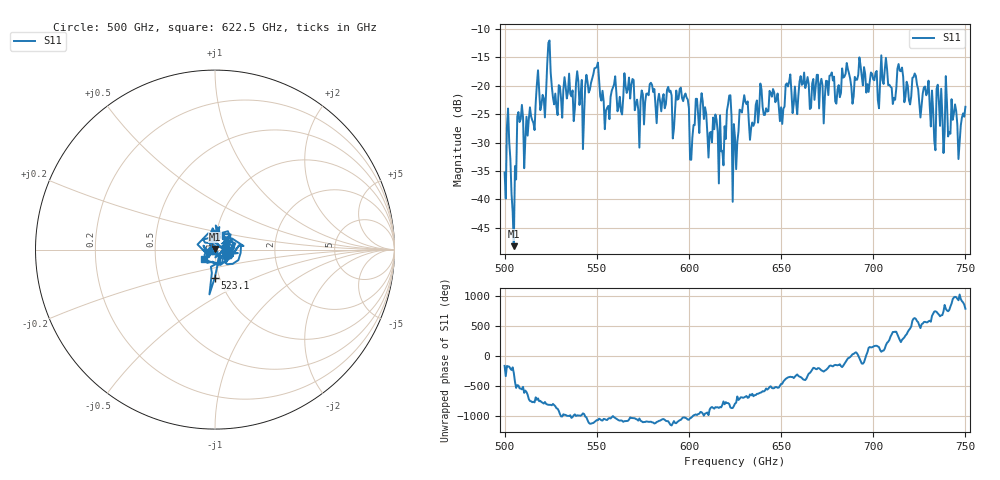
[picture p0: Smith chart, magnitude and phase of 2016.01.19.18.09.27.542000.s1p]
!Created with skrf (http://scikit-rf.org).
# GHz S RI R 50.0
!freq ReS11 ImS11
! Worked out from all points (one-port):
!   401 points, 500 GHz to 750 GHz, reference 50 ohm
!   lowest |S11| = -48.2 dB at 505 GHz (marker M1), VSWR 1.01, Z = 50.1 + j0.371 ohm
!   |S11| at or under -10 dB: start of sweep to end of sweep
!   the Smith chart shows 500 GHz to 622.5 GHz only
!   S11 on the Smith chart (normalised r, x): 500 GHz: 0.97, -0.01; 523.1 GHz: 0.95, -0.31; 622.5 GHz: 0.88, -0.09
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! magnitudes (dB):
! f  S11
! 500 GHz  -35.3
! 502.5 GHz  -29.9
! 505 GHz  -48.2
! 508.1 GHz  -26.4
! 511.9 GHz  -25.4
! 523.1 GHz  -16.1
! 531.2 GHz  -25.6
! 541.9 GHz  -19.0
! 549.4 GHz  -16.8
! 555.6 GHz  -23.9
! 559.4 GHz  -19.8
! 562.5 GHz  -21.9
! 593.8 GHz  -22.4
! 598.8 GHz  -22.1
! 601.9 GHz  -29.1
! 607.5 GHz  -22.7
! 617.5 GHz  -31.5
! 622.5 GHz  -21.7
! 625 GHz  -29.1
! 630.6 GHz  -22.8
! 634.4 GHz  -26.5
! 656.2 GHz  -24.8
! 687.5 GHz  -18.8
! 711.2 GHz  -22.1
! 714.4 GHz  -17.3
! 718.8 GHz  -20.0
! 746.9 GHz  -30.0
! 750 GHz  -23.7
